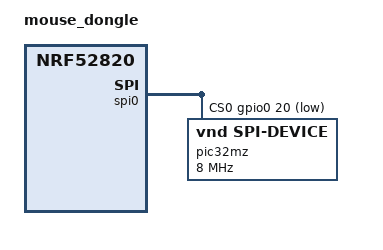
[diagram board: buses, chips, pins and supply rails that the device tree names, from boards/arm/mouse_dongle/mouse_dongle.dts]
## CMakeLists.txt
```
# SPDX-License-Identifier: Apache-2.0

cmake_minimum_required(VERSION 3.20.0)

find_package(Zephyr REQUIRED HINTS $ENV{ZEPHYR_BASE})
project(baldr_receiver)
FILE(GLOB APP_SOURCE src/*.c)
target_include_directories(app PRIVATE inc/)
target_sources(app PRIVATE
    ${APP_SOURCE}
)
```

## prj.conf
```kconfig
# nothing here

CONFIG_ESB=y
```

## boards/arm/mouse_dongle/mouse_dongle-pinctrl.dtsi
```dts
/*
 * Copyright (c) 2022 Nordic Semiconductor
 * SPDX-License-Identifier: Apache-2.0
 */

&pinctrl {
	uart0_default: uart0_default {
		group1 {
			psels = <NRF_PSEL(UART_TX, 0, 16)>,
				<NRF_PSEL(UART_RTS, 0, 17)>;
		};
		group2 {
			psels = <NRF_PSEL(UART_RX, 0, 4)>,
				<NRF_PSEL(UART_CTS, 0, 5)>;
			bias-pull-up;
		};
	};

	uart0_sleep: uart0_sleep {
		group1 {
			psels = <NRF_PSEL(UART_TX, 0, 16)>,
				<NRF_PSEL(UART_RX, 0, 4)>,
				<NRF_PSEL(UART_RTS, 0, 17)>,
				<NRF_PSEL(UART_CTS, 0, 5)>;
			low-power-enable;
		};
	};

	spi0_default: spi0_default{
		group1 {
			psels = <NRF_PSEL(SPIM_SCK, 0, 7)>,
				<NRF_PSEL(SPIM_MISO, 0, 14)>,
				<NRF_PSEL(SPIM_MOSI, 0, 15)>;
		};
	};

	spi0_sleep: spi0_sleep {
		group1 {
			psels = <NRF_PSEL(SPIM_SCK, 0, 7)>,
				<NRF_PSEL(SPIM_MISO, 0, 14)>,
				<NRF_PSEL(SPIM_MOSI, 0, 15)>;
			low-power-enable;
		};
	};
};
```

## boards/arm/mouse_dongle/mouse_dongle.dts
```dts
// Copyright (c) 2022 Nordic Semiconductor ASA
// SPDX-License-Identifier: Apache-2.0

/dts-v1/;
#include <nordic/nrf52820_qdaa.dtsi>
#include "mouse_dongle-pinctrl.dtsi"

/ {
	model = "mouse_dongle";
	compatible = "mouse-dongle";

	chosen {
		zephyr,console = &uart0;
		zephyr,shell-uart = &uart0;
		zephyr,sram = &sram0;
		zephyr,flash = &flash0;
		zephyr,code-partition = &slot0_partition;
	};
};

&gpio0 {
	status = "okay";
};

&spi0 {
	compatible = "nordic,nrf-spim";
	status = "okay";
	pinctrl-0 = <&spi0_default>;
	pinctrl-1 = <&spi0_sleep>;
	pinctrl-names = "default", "sleep";
	cs-gpios = <&gpio0 20 GPIO_ACTIVE_LOW>;
	pic32mz: pic32mz@0 {
		compatible = "vnd,spi-device";
		reg = <0>;
		spi-max-frequency = <8000000>;
	};
};	


&flash0 {
	partitions {
		compatible = "fixed-partitions";
		#address-cells = <1>;
		#size-cells = <1>;

		boot_partition: partition@0 {
			label = "mcuboot";
			reg = <0x0 0xc000>;
		};
		slot0_partition: partition@c000 {
			label = "image-0";
			reg = <0xc000 0x12000>;
		};
		slot1_partition: partition@1e000 {
			label = "image-1";
			reg = <0x1e000 0x12000>;
		};
		scratch_partition: partition@30000 {
			label = "image-scratch";
			reg = <0x30000 0xa000>;
		};
		storage_partition: partition@3a000 {
			label = "storage";
			reg = <0x3a000 0x6000>;
		};
	};
};
```

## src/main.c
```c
#include <zephyr/logging/log.h>
#include "receiver.h"

LOG_MODULE_REGISTER(main, CONFIG_LOG_DEFAULT_LEVEL);

void main(void) {
	init_receiver();
	init_pic32_spi();
	k_sleep(K_MSEC(1000));
	uint8_t i = 0;
	for (;;) {
		LOG_INF("Main");
		k_sleep(K_MSEC(100));
	}
}
```

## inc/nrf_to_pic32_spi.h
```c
#include <zephyr/kernel.h>
#include <zephyr/drivers/spi.h>
#include <zephyr/sys/byteorder.h>
#include <zephyr/device.h>
#include <zephyr/devicetree.h>
#include <zephyr/drivers/gpio.h>

#define SPI_DEV                 DT_NODELABEL(pic32mz)
#define SPI_OP                  SPI_OP_MODE_MASTER | SPI_WORD_SET(8) | SPI_TRANSFER_MSB | SPI_MODE_CPOL | SPI_MODE_CPHA

#define MAX_MESSAGES            10

typedef struct {
    uint8_t *data;
    size_t len;
} message_t;

typedef struct {
    void *fifo_reserved;
    message_t message;
} message_fifo_t;

void print_message_content(const message_t *msg);

void init_pic32_spi(void);

void pic32_spi_write(const message_t *msg);
void pic32_spi_read(uint8_t *data);
void add_message_to_fifo(const message_t *msg);
```

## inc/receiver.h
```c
#ifndef DONGLE_RECEIVER_H
#define DONGLE_RECEIVER_H

#include <zephyr/drivers/clock_control.h>
#include <zephyr/drivers/clock_control/nrf_clock_control.h>
#include <zephyr/drivers/gpio.h>
#include <zephyr/irq.h>
#include <zephyr/logging/log.h>
#include <nrf.h>
#include <esb.h>
#include <zephyr/device.h>
#include <zephyr/devicetree.h>
#include <zephyr/kernel.h>
#include <zephyr/types.h>
#include "nrf_to_pic32_spi.h"

typedef struct {
    struct esb_payload rx_payload;
    bool ready;
} receiver_data_t;


void event_handler(struct esb_evt const *event);

int clocks_start(void);

int init_esb(void);
int init_receiver(void);
void send_confirmation_to_transmitter(void);

#endif // DONGLE_RECEIVER_H
```

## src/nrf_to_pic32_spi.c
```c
#include "nrf_to_pic32_spi.h"
#include <zephyr/logging/log.h>

LOG_MODULE_REGISTER(nrf_to_pic32, CONFIG_LOG_DEFAULT_LEVEL);

static struct spi_dt_spec spi_com = SPI_DT_SPEC_GET(SPI_DEV, SPI_OP, 0);
static struct gpio_dt_spec cs_pin = SPI_CS_GPIOS_DT_SPEC_GET(SPI_DEV);

K_FIFO_DEFINE(spi_fifo);
K_THREAD_STACK_DEFINE(spi_stack_area, 1024); // Adjust stack size as needed
K_MEM_SLAB_DEFINE(spi_message_slab, sizeof(message_fifo_t), MAX_MESSAGES, 4);

static struct k_thread spi_thread_data;

void spi_thread(void *arg1, void *arg2, void *arg3) {
    for (;;) {
        message_fifo_t *msg = k_fifo_get(&spi_fifo, K_FOREVER);
        if (msg) {
            LOG_INF("SENDING SPI");
            pic32_spi_write(&msg->message);
            LOG_INF("SPI SENT");
            k_mem_slab_free(&spi_message_slab, (void **)&msg);
        }
    }
}

void init_pic32_spi(void) {
    while(!spi_is_ready_dt(&spi_com)) {
        LOG_ERR("SPI NOT READY");
    }
    LOG_INF("SPI is ready");
    LOG_INF("Starting SPI thread");

    k_tid_t tid = k_thread_create(
        &spi_thread_data,
        spi_stack_area,
        K_THREAD_STACK_SIZEOF(spi_stack_area), 
        spi_thread,
        NULL, NULL, NULL,
        K_PRIO_PREEMPT(0), 0, K_NO_WAIT
    );

    if (!tid) {
        LOG_ERR("Failed to spi start thread");
        return;
    }

    LOG_INF("SPI Thread Started");
} 

void pic32_cs_ctrl(bool enable) {
    if (gpio_pin_set_dt(&cs_pin, (int) enable)) {
        LOG_ERR("SPI CS Failed");
    }
}

void pic32_enable_cs(void) {
    pic32_cs_ctrl(true);
}

void pic32_disable_cs(void) {
    pic32_cs_ctrl(false);
}
void pic32_spi_write(const message_t *msg) {
    struct spi_buf tx_buf = {
        .buf = msg->data,
        .len = msg->len
    };
    const struct spi_buf_set tx_bufs = {
        .buffers = &tx_buf,
        .count = 1
    };
    // pic32_enable_cs();
    if (spi_write_dt(&spi_com, &tx_bufs) != 0) {
        LOG_ERR("Failed to write message");
    }
    // pic32_disable_cs();
    LOG_INF("SPI Success");
}

void pic32_spi_read(uint8_t *data) {
    const struct spi_buf rx_buf =  {
        .buf = data,
        .len = sizeof(data),
    };
    pic32_enable_cs();
    if (!spi_read_dt(&spi_com, &rx_buf)) {
        LOG_ERR("Failed to write message");
    }
    pic32_disable_cs();
}

void add_message_to_fifo(const message_t *msg) {
    message_fifo_t *msg_fifo;
    if (k_mem_slab_alloc(&spi_message_slab, (void **)&msg_fifo, K_NO_WAIT) == 0) {
        memcpy(&msg_fifo->message, msg, sizeof(message_t));
        k_fifo_put(&spi_fifo, msg_fifo);
        LOG_INF("Creating message");
    } else { 
        LOG_ERR("Failed to allocate memory for message");
    }
}
void print_message_content(const message_t *msg) {
    LOG_INF("Message content (length: %zu):", msg->len);
    for (size_t i = 0; i < msg->len; i++) {
        LOG_INF("%02x ", msg->data[i]);
    }
}
```

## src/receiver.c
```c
#include "receiver.h"
// #include "nrf_to_pic32_spi.h"
LOG_MODULE_REGISTER(esb_receiver, CONFIG_LOG_DEFAULT_LEVEL);

static receiver_data_t rx_data;

void event_handler(struct esb_evt const *event) {
    if (rx_data.ready) {
        switch (event->evt_id) {
            case ESB_EVENT_TX_SUCCESS:
                LOG_DBG("TX SUCCESS EVENT");
                break;
            case ESB_EVENT_TX_FAILED:
                LOG_DBG("TX FAILED EVENT");
                break;
            case ESB_EVENT_RX_RECEIVED:
                LOG_INF("RX_EVENT");
                if (esb_read_rx_payload(&rx_data.rx_payload) == 0) {
                    uint8_t *data = rx_data.rx_payload.data;

                    uint8_t button_bm = data[0];
                    int8_t wheel = (int8_t)data[1];
                    int16_t dx = ((data[2] & 0xFF) | ((data[3] & 0x0F) << 8));
                    int16_t dy = ((data[3] & 0xF0) >> 4) | ((data[4] & 0xF0) << 4) | ((data[4] & 0x0F) << 12);

                    LOG_INF("Button Bit Map: %02X", button_bm);
                    LOG_INF("Wheel: %d", wheel);
                    LOG_INF("dx: %d", dx);
                    LOG_INF("dy: %d", dy);
                    message_t msg = {
                        .data = &(rx_data.rx_payload.data),
                        .len = rx_data.rx_payload.length,
                    };
                    add_message_to_fifo(&msg);
                    // LOG_INF("SENDING SPI");
                    // pic32_spi_write(&msg);
                    // LOG_INF("SENT SPI");
                }
                break;
        }
    }
}

int clocks_start(void) {
    int err;
    int res;
    struct onoff_manager *clk_mgr;
    struct onoff_client clk_cli;

    clk_mgr = z_nrf_clock_control_get_onoff(CLOCK_CONTROL_NRF_SUBSYS_HF);
    if (!clk_mgr) {
        LOG_ERR("Unable to get the Clock manager");
        return -ENXIO;
    }

    sys_notify_init_spinwait(&clk_cli.notify);

    err = onoff_request(clk_mgr, &clk_cli);
    if (err < 0) {
        LOG_ERR("Clock request failed: %d", err);
        return err;
    }

    do {
        err = sys_notify_fetch_result(&clk_cli.notify, &res);
        if (!err && res) {
            LOG_ERR("Clock could not be started: %d", res);
            return res;
        }
    } while (err);

    LOG_INF("HF clock started");
    return 0;
}

int init_esb(void) {
    int err;
    /* These are arbitrary default addresses. In end user products
	 * different addresses should be used for each set of devices.
	 */
	uint8_t base_addr_0[4] = {0xE7, 0xE7, 0xE7, 0xE7};
	uint8_t base_addr_1[4] = {0xC2, 0xC2, 0xC2, 0xC2};
	uint8_t addr_prefix[8] = {0xE7, 0xC2, 0xC3, 0xC4, 0xC5, 0xC6, 0xC7, 0xC8};

    struct esb_config config = ESB_DEFAULT_CONFIG;

    config.protocol = ESB_PROTOCOL_ESB_DPL;
    config.bitrate = ESB_BITRATE_2MBPS;
    config.mode = ESB_MODE_PRX;
    config.crc = ESB_CRC_8BIT;
    // config.payload_length = 6;
    config.event_handler = event_handler;
    config.use_fast_ramp_up = true;
    config.selective_auto_ack = true;

    err = esb_init(&config);

    if (err) {
        LOG_ERR("Error initializing esb");
        return err;
    }   

    err = esb_set_base_address_0(base_addr_0);
    if (err) {
        LOG_ERR("Error setting base address 0");
        return err;
    }   

    err = esb_set_base_address_1(base_addr_1);
    if (err) {
        LOG_ERR("Error setting base address 1");
        return err;
    }   

    err = esb_set_prefixes(addr_prefix, ARRAY_SIZE(addr_prefix));
    if (err) {
        LOG_ERR("Error setting address prefix");
        return err;
    }   

    return 0;

}

int init_receiver(void) {
    int err;
    rx_data.ready = false;
    ("Staring Dongle Board Receiver");
    err = clocks_start();
    if (err < 0) {
        return err;
    }

    err = init_esb();
    if (err < 0) {
        LOG_ERR("ESB init failed, err %d", err);
        return err;
    }

    err = esb_start_rx();
    if (err < 0) {
        LOG_ERR("RX setup failed, err %d", err);
        return err;
    }

    LOG_INF("Initialization complete");
    rx_data.ready = true;
    return 0;
}
```
